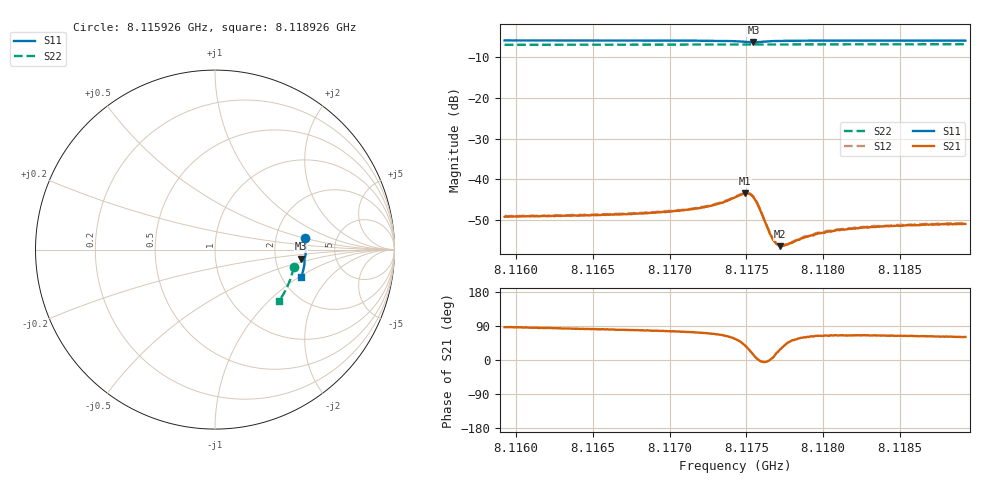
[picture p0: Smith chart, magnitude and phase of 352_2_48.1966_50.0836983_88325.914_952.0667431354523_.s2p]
#  HZ  S  RI  R  50.00
! Rohde & Schwarz Vector Network Analyzer
! Rohde-Schwarz,ZNB20-2Port,1311601062101988,3.16
! Created: UTC 3/20/2024, 11:51:50 AM
! freq[Hz]  re:S11  im:S11  re:S21  im:S21  re:S12  im:S12  re:S22  im:S22
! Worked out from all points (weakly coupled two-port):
!   401 points, 8.115926 GHz to 8.118926 GHz, reference 50 ohm
!   highest |S21| = -43.44 dB at 8.117494 GHz (marker M1); lowest = -56.4 dB at 8.117719 GHz (marker M2)
!   lowest |S11| = -6.3 dB at 8.117546 GHz (marker M3), VSWR 2.86, Z = 140 - j18.3 ohm
!   |S11| at or under -10 dB: nowhere
!   |S22| runs from -7.0 to -6.8 dB; largest |S21 - S12| = 0.00019
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8.1159262e9  0.5034 0.0636  0.000201 0.00346  0.000224 0.00355  0.4379 -0.0961
8.1164287e9  0.5061 0.0259  0.000475 0.00356  0.000531 0.00361  0.4304 -0.1303
8.1169312e9  0.5055 -0.0126  0.000879 0.00383  0.000943 0.00389  0.4202 -0.1637
8.1170812e9  0.5048 -0.0246  0.00108 0.00401  0.00119 0.00407  0.4168 -0.1736
8.1172086e9  0.5031 -0.0354  0.00141 0.00426  0.00146 0.00433  0.4136 -0.1819
8.1173286e9  0.5003 -0.0465  0.00202 0.00469  0.00211 0.00472  0.4103 -0.1897
8.1174261e9  0.4937 -0.056  0.00336 0.00498  0.00348 0.00504  0.4074 -0.1961
8.1174936e9  0.4837 -0.0583  0.00534 0.00409  0.00549 0.00407  0.4052 -0.2002
8.1175236e9  0.4796 -0.0546  0.00596 0.00272  0.00615 0.0027  0.4041 -0.2017
8.1175461e9  0.479 -0.0502  0.00585 0.00138  0.00596 0.00138  0.4036 -0.2028
8.1175761e9  0.4828 -0.0458  0.00481 9.84e-05  0.00492 5.34e-05  0.4028 -0.2045
8.1176361e9  0.4925 -0.0473  0.00256 -0.000174  0.00263 -0.000223  0.4017 -0.2082
8.1176661e9  0.4954 -0.0506  0.00194 0.000147  0.00197 0.000139  0.4009 -0.2103
8.1176961e9  0.4971 -0.0541  0.00152 0.000507  0.00158 0.000463  0.4001 -0.2123
8.1177186e9  0.4978 -0.0566  0.00134 0.000697  0.00143 0.000701  0.3994 -0.2137
8.1177561e9  0.4986 -0.0607  0.00118 0.00104  0.00119 0.00103  0.3981 -0.2162
8.1178686e9  0.4989 -0.0716  0.000977 0.00162  0.001 0.00168  0.3948 -0.2232
8.1179286e9  0.4985 -0.0768  0.000959 0.00184  0.000981 0.00183  0.3928 -0.2271
8.1181011e9  0.4964 -0.091  0.00101 0.00216  0.00106 0.00219  0.3872 -0.2377
8.1183261e9  0.4931 -0.1081  0.0011 0.00235  0.00117 0.00241  0.3792 -0.2514
8.1184311e9  0.4914 -0.116  0.00114 0.0024  0.0012 0.00242  0.3754 -0.2577
8.118926e9  0.481 -0.1519  0.00138 0.00247  0.00145 0.00252  0.3557 -0.2865
